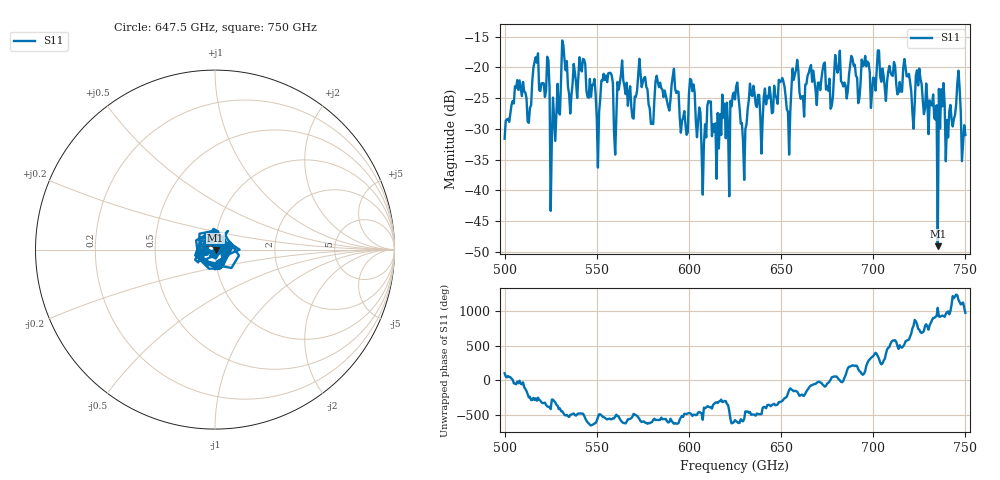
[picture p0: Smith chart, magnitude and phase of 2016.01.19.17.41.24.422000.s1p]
!Created with skrf (http://scikit-rf.org).
# GHz S RI R 50.0
!freq ReS11 ImS11
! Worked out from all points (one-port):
!   401 points, 500 GHz to 750 GHz, reference 50 ohm
!   lowest |S11| = -49.1 dB at 735 GHz (marker M1), VSWR 1.01, Z = 50.3 - j0.21 ohm
!   |S11| at or under -10 dB: start of sweep to end of sweep
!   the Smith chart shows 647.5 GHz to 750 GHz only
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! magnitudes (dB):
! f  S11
! 500 GHz  -31.6
! 506.9 GHz  -22.1
! 513.1 GHz  -29.0
! 516.9 GHz  -18.3
! 523.1 GHz  -18.3
! 526.2 GHz  -24.9
! 531.2 GHz  -15.6
! 542.5 GHz  -18.6
! 550.6 GHz  -36.3
! 562.5 GHz  -22.5
! 593.8 GHz  -23.9
! 598.1 GHz  -29.3
! 601.9 GHz  -23.9
! 608.1 GHz  -32.6
! 610.6 GHz  -25.5
! 621.2 GHz  -29.8
! 625 GHz  -25.2
! 630 GHz  -38.3
! 633.8 GHz  -24.4
! 650 GHz  -22.3
! 653.8 GHz  -27.2
! 656.2 GHz  -20.2
! 687.5 GHz  -19.7
! 718.8 GHz  -21.5
! 735 GHz  -49.1
! 736.9 GHz  -23.5
! 746.2 GHz  -20.5
! 750 GHz  -31.0
